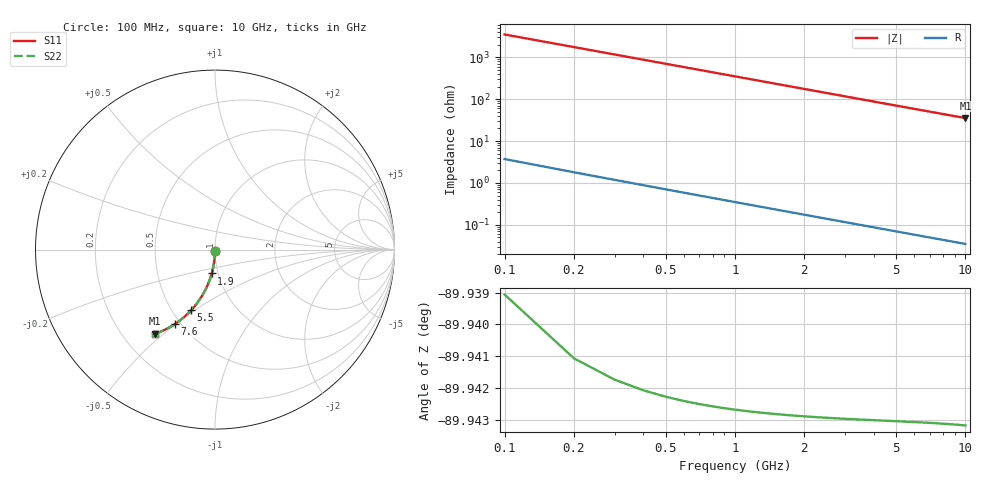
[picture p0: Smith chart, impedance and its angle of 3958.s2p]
# Hz S RI R 50.00
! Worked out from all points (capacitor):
!   100 points, 100 MHz to 10 GHz, reference 50 ohm
!   read as one part in shunt: C = 455 fF near 100 MHz
!   lowest |Z| = 35.4 ohm at 10 GHz (marker M1)
!   S11 on the Smith chart (normalised r, x): 100 MHz: 1.00, -0.01; 1.9 GHz: 0.93, -0.25; 5.5 GHz: 0.62, -0.48; 7.6 GHz: 0.46, -0.50; 10 GHz: 0.33, -0.47
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1e8  -5.19e-05 -0.00712  0.9999 -0.00716  0.9999 -0.00716  -5.19e-05 -0.00712
2e8  -0.000212 -0.0142  0.9998 -0.0143  0.9998 -0.0143  -0.000212 -0.0142
3e8  -0.000474 -0.0214  0.9995 -0.0215  0.9995 -0.0215  -0.000474 -0.0214
4e8  -0.000838 -0.0285  0.9991 -0.0286  0.9991 -0.0286  -0.000838 -0.0285
5e8  -0.0013 -0.0356  0.9987 -0.0358  0.9987 -0.0358  -0.0013 -0.0356
6e8  -0.00187 -0.0426  0.9981 -0.0429  0.9981 -0.0429  -0.00187 -0.0426
8e8  -0.0033 -0.0568  0.9967 -0.0571  0.9967 -0.0571  -0.0033 -0.0568
9e8  -0.00417 -0.0638  0.9958 -0.0642  0.9958 -0.0642  -0.00417 -0.0638
1.1e9  -0.0062 -0.0778  0.9938 -0.0783  0.9938 -0.0783  -0.0062 -0.0778
1.4e9  -0.00998 -0.0986  0.99 -0.0992  0.99 -0.0992  -0.00998 -0.0986
1.8e9  -0.0163 -0.126  0.9836 -0.1267  0.9836 -0.1267  -0.0163 -0.126
1.9e9  -0.0182 -0.1327  0.9818 -0.1335  0.9818 -0.1335  -0.0182 -0.1327
2.2e9  -0.0242 -0.1527  0.9758 -0.1536  0.9758 -0.1536  -0.0242 -0.1527
2.6e9  -0.0334 -0.1786  0.9666 -0.1797  0.9666 -0.1797  -0.0334 -0.1786
3.4e9  -0.0556 -0.228  0.9444 -0.2294  0.9444 -0.2294  -0.0556 -0.228
4.2e9  -0.0823 -0.2734  0.9177 -0.2752  0.9177 -0.2752  -0.0823 -0.2734
5.1e9  -0.1165 -0.3193  0.8835 -0.3214  0.8835 -0.3214  -0.1165 -0.3193
5.5e9  -0.1329 -0.3378  0.8671 -0.3401  0.8671 -0.3401  -0.1329 -0.3378
6.7e9  -0.1848 -0.3862  0.8152 -0.3891  0.8152 -0.3891  -0.1848 -0.3862
7.6e9  -0.2255 -0.4158  0.7745 -0.419  0.7745 -0.419  -0.2255 -0.4158
8.4e9  -0.262 -0.4374  0.738 -0.441  0.738 -0.441  -0.262 -0.4374
1e10  -0.334 -0.469  0.666 -0.4733  0.666 -0.4733  -0.334 -0.469
